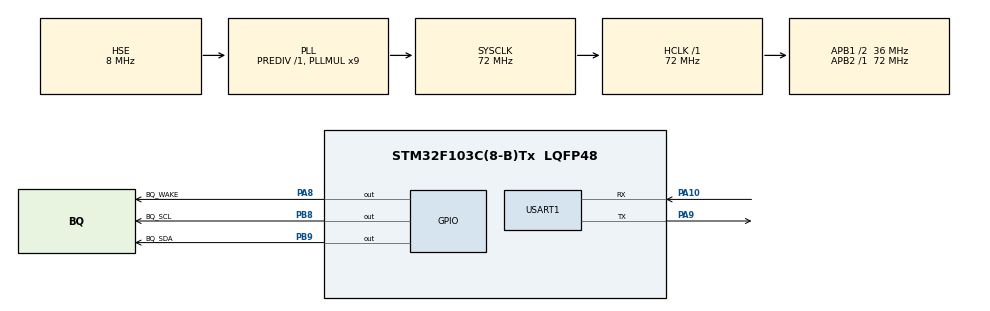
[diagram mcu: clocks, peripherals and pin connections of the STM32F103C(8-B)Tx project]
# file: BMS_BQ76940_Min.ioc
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Mcu.Family=STM32F1
Mcu.Name=STM32F103C(8-B)Tx
Mcu.Package=LQFP48
NVIC.PriorityGroup=NVIC_PRIORITYGROUP_4
PA10.Mode=Asynchronous
PA10.Signal=USART1_RX
PA13.Mode=Serial_Wire
PA13.Signal=SYS_JTMS-SWDIO
PA14.Mode=Serial_Wire
PA14.Signal=SYS_JTCK-SWCLK
PA8.GPIO_Label=BQ_WAKE
PA8.Signal=GPIO_Output
PA9.Mode=Asynchronous
PA9.Signal=USART1_TX
PB8.GPIO_Label=BQ_SCL
PB8.GPIO_ModeDefaultOutputPP=GPIO_MODE_OUTPUT_OD
PB8.GPIO_PuPd=GPIO_PULLUP
PB8.PinState=GPIO_PIN_SET
PB8.Signal=GPIO_Output
PB9.GPIO_Label=BQ_SDA
PB9.GPIO_ModeDefaultOutputPP=GPIO_MODE_OUTPUT_OD
PB9.GPIO_PuPd=GPIO_PULLUP
PB9.PinState=GPIO_PIN_SET
PB9.Signal=GPIO_Output
PD0-OSC_IN.Mode=HSE-External-Oscillator
PD0-OSC_IN.Signal=RCC_OSC_IN
PD1-OSC_OUT.Mode=HSE-External-Oscillator
PD1-OSC_OUT.Signal=RCC_OSC_OUT
ProjectManager.HeapSize=0x200
ProjectManager.StackSize=0x400
ProjectManager.TargetToolchain=MDK-ARM V5.32
RCC.AHBFreq_Value=72000000
RCC.APB1CLKDivider=RCC_HCLK_DIV2
RCC.APB1Freq_Value=36000000
RCC.APB1TimFreq_Value=72000000
RCC.APB2Freq_Value=72000000
RCC.APB2TimFreq_Value=72000000
RCC.HCLKFreq_Value=72000000
RCC.PLLMUL=RCC_PLL_MUL9
RCC.PLLSourceVirtual=RCC_PLLSOURCE_HSE
RCC.SYSCLKFreq_VALUE=72000000
RCC.SYSCLKSource=RCC_SYSCLKSOURCE_PLLCLK
RCC.USBFreq_Value=72000000
USART1.VirtualMode=VM_ASYNC
board=custom

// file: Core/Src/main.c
/* USER CODE BEGIN Header */
/**
  ******************************************************************************
  * @file           : main.c
  * @brief          : Main program body
  ******************************************************************************
  * @attention
  *
  * Copyright (c) 2026 STMicroelectronics.
  * All rights reserved.
  *
  * This software is licensed under terms that can be found in the LICENSE file
  * in the root directory of this software component.
  * If no LICENSE file comes with this software, it is provided AS-IS.
  *
  ******************************************************************************
  */
/* USER CODE END Header */
#include "main.h"
#include "usart.h"
#include "gpio.h"
#include <stdio.h>
#include <stdarg.h>

void SystemClock_Config(void);

/* USER CODE BEGIN 0 */

#define BQ76940_ADDR_7BIT  0x08U

static void BQ_DelayShort(void)
{
  for (volatile uint32_t i = 0; i < 120U; i++)
  {
    __NOP();
  }
}

static void UART1_Printf(const char *fmt, ...)
{
  char buffer[192];
  va_list args;
  int len;

  va_start(args, fmt);
  len = vsnprintf(buffer, sizeof(buffer), fmt, args);
  va_end(args);

  if (len <= 0)
  {
    return;
  }

  if (len > (int)sizeof(buffer))
  {
    len = (int)sizeof(buffer);
  }

  HAL_UART_Transmit(&huart1, (uint8_t *)buffer, (uint16_t)len, HAL_MAX_DELAY);
}

static void BQ_SCL_H(void)
{
  HAL_GPIO_WritePin(BQ_SCL_GPIO_Port, BQ_SCL_Pin, GPIO_PIN_SET);
}

static void BQ_SCL_L(void)
{
  HAL_GPIO_WritePin(BQ_SCL_GPIO_Port, BQ_SCL_Pin, GPIO_PIN_RESET);
}

static void BQ_SDA_H(void)
{
  HAL_GPIO_WritePin(BQ_SDA_GPIO_Port, BQ_SDA_Pin, GPIO_PIN_SET);
}

static void BQ_SDA_L(void)
{
  HAL_GPIO_WritePin(BQ_SDA_GPIO_Port, BQ_SDA_Pin, GPIO_PIN_RESET);
}

static GPIO_PinState BQ_SDA_Read(void)
{
  return HAL_GPIO_ReadPin(BQ_SDA_GPIO_Port, BQ_SDA_Pin);
}

static void BQ_I2C_ReleaseBus(void)
{
  BQ_SDA_H();
  BQ_SCL_H();
  BQ_DelayShort();
}

static HAL_StatusTypeDef BQ_I2C_Start(void)
{
  BQ_I2C_ReleaseBus();
  if (BQ_SDA_Read() == GPIO_PIN_RESET)
  {
    return HAL_ERROR;
  }

  BQ_SDA_L();
  BQ_DelayShort();
  BQ_SCL_L();
  BQ_DelayShort();
  return HAL_OK;
}

static void BQ_I2C_Stop(void)
{
  BQ_SCL_L();
  BQ_SDA_L();
  BQ_DelayShort();
  BQ_SCL_H();
  BQ_DelayShort();
  BQ_SDA_H();
  BQ_DelayShort();
}

static HAL_StatusTypeDef BQ_I2C_WriteBit(uint8_t bit)
{
  if (bit != 0U)
  {
    BQ_SDA_H();
  }
  else
  {
    BQ_SDA_L();
  }

  BQ_DelayShort();
  BQ_SCL_H();
  BQ_DelayShort();
  BQ_SCL_L();
  BQ_DelayShort();
  return HAL_OK;
}

static uint8_t BQ_I2C_ReadBit(void)
{
  uint8_t bit;

  BQ_SDA_H();
  BQ_DelayShort();
  BQ_SCL_H();
  BQ_DelayShort();
  bit = (BQ_SDA_Read() == GPIO_PIN_SET) ? 1U : 0U;
  BQ_SCL_L();
  BQ_DelayShort();
  return bit;
}

static HAL_StatusTypeDef BQ_I2C_WriteByte(uint8_t data)
{
  for (uint8_t i = 0; i < 8U; i++)
  {
    (void)BQ_I2C_WriteBit((data & 0x80U) != 0U);
    data <<= 1;
  }

  BQ_SDA_H();
  BQ_DelayShort();
  BQ_SCL_H();
  BQ_DelayShort();

  if (BQ_SDA_Read() == GPIO_PIN_SET)
  {
    BQ_SCL_L();
    return HAL_ERROR;
  }

  BQ_SCL_L();
  BQ_DelayShort();
  return HAL_OK;
}

static uint8_t BQ_I2C_ReadByte(uint8_t ack)
{
  uint8_t data = 0U;

  BQ_SDA_H();
  for (uint8_t i = 0; i < 8U; i++)
  {
    data <<= 1;
    BQ_SCL_H();
    BQ_DelayShort();
    if (BQ_SDA_Read() == GPIO_PIN_SET)
    {
      data |= 0x01U;
    }
    BQ_SCL_L();
    BQ_DelayShort();
  }

  if (ack != 0U)
  {
    BQ_SDA_L();
  }
  else
  {
    BQ_SDA_H();
  }

  BQ_DelayShort();
  BQ_SCL_H();
  BQ_DelayShort();
  BQ_SCL_L();
  BQ_SDA_H();
  return data;
}

static HAL_StatusTypeDef BQ_ReadReg(uint8_t reg, uint8_t *value)
{
  if ((value == NULL) || (BQ_I2C_Start() != HAL_OK))
  {
    BQ_I2C_Stop();
    return HAL_ERROR;
  }

  if (BQ_I2C_WriteByte((uint8_t)(BQ76940_ADDR_7BIT << 1)) != HAL_OK)
  {
    BQ_I2C_Stop();
    return HAL_ERROR;
  }

  if (BQ_I2C_WriteByte(reg) != HAL_OK)
  {
    BQ_I2C_Stop();
    return HAL_ERROR;
  }

  if (BQ_I2C_Start() != HAL_OK)
  {
    BQ_I2C_Stop();
    return HAL_ERROR;
  }

  if (BQ_I2C_WriteByte((uint8_t)((BQ76940_ADDR_7BIT << 1) | 0x01U)) != HAL_OK)
  {
    BQ_I2C_Stop();
    return HAL_ERROR;
  }

  *value = BQ_I2C_ReadByte(0U);
  BQ_I2C_Stop();
  return HAL_OK;
}

static void BQ_Wake(void)
{
  HAL_GPIO_WritePin(BQ_WAKE_GPIO_Port, BQ_WAKE_Pin, GPIO_PIN_SET);
  HAL_Delay(100);
  HAL_GPIO_WritePin(BQ_WAKE_GPIO_Port, BQ_WAKE_Pin, GPIO_PIN_RESET);
  HAL_Delay(100);
}

static void BQ_BringupAndPrint(void)
{
  uint8_t value;
  uint8_t adc_gain1 = 0U;
  uint8_t adc_offset = 0U;
  uint8_t adc_gain2 = 0U;

  UART1_Printf("\r\n=== BQ76940 bring-up ===\r\n");

  if (BQ_ReadReg(0x00U, &value) == HAL_OK)
  {
    UART1_Printf("SYS_STAT = 0x%02X\r\n", value);
  }
  else
  {
    UART1_Printf("SYS_STAT read fail\r\n");
  }

  if (BQ_ReadReg(0x50U, &adc_gain1) == HAL_OK &&
      BQ_ReadReg(0x51U, &adc_offset) == HAL_OK &&
      BQ_ReadReg(0x59U, &adc_gain2) == HAL_OK)
  {
    UART1_Printf("ADCGAIN1 = 0x%02X, ADCOFFSET = 0x%02X, ADCGAIN2 = 0x%02X\r\n",
                 adc_gain1, adc_offset, adc_gain2);
  }
  else
  {
    UART1_Printf("ADC gain/offset read fail\r\n");
  }

  for (uint8_t cell = 1U; cell <= 15U; cell++)
  {
    uint8_t reg_hi = (uint8_t)(0x0CU + (uint8_t)((cell - 1U) * 2U));
    uint8_t reg_lo = (uint8_t)(reg_hi + 1U);
    uint8_t hi = 0U;
    uint8_t lo = 0U;

    if (BQ_ReadReg(reg_hi, &hi) == HAL_OK && BQ_ReadReg(reg_lo, &lo) == HAL_OK)
    {
      uint16_t raw = (uint16_t)(((uint16_t)hi << 8) | lo);
      UART1_Printf("VC%u raw = 0x%04X (%u)\r\n", cell, raw, raw);
    }
    else
    {
      UART1_Printf("VC%u read fail\r\n", cell);
    }
  }
}

/* USER CODE END 0 */

int main(void)
{

  /* MCU Configuration--------------------------------------------------------*/

  /* Reset of all peripherals, Initializes the Flash interface and the Systick. */
  HAL_Init();

  /* Configure the system clock */
  SystemClock_Config();

  /* Initialize all configured peripherals */
  MX_GPIO_Init();
  MX_USART1_UART_Init();
  /* USER CODE BEGIN 2 */
  UART1_Printf("\r\nBMS_BQ76940_Min start\r\n");
  BQ_Wake();
  BQ_BringupAndPrint();

  /* USER CODE END 2 */

  /* Infinite loop */
  while (1)
  {

    /* USER CODE BEGIN 3 */
    HAL_Delay(1000);
    BQ_BringupAndPrint();
  }
  /* USER CODE END 3 */
}

void SystemClock_Config(void)
{
  RCC_OscInitTypeDef RCC_OscInitStruct = {0};
  RCC_ClkInitTypeDef RCC_ClkInitStruct = {0};

  /** Initializes the RCC Oscillators according to the specified parameters
  * in the RCC_OscInitTypeDef structure.
  */
  RCC_OscInitStruct.OscillatorType = RCC_OSCILLATORTYPE_HSE;
  RCC_OscInitStruct.HSEState = RCC_HSE_ON;
  RCC_OscInitStruct.HSEPredivValue = RCC_HSE_PREDIV_DIV1;
  RCC_OscInitStruct.HSIState = RCC_HSI_ON;
  RCC_OscInitStruct.PLL.PLLState = RCC_PLL_ON;
  RCC_OscInitStruct.PLL.PLLSource = RCC_PLLSOURCE_HSE;
  RCC_OscInitStruct.PLL.PLLMUL = RCC_PLL_MUL9;
  if (HAL_RCC_OscConfig(&RCC_OscInitStruct) != HAL_OK)
  {
    Error_Handler();
  }

  /** Initializes the CPU, AHB and APB buses clocks
  */
  RCC_ClkInitStruct.ClockType = RCC_CLOCKTYPE_HCLK|RCC_CLOCKTYPE_SYSCLK
                              |RCC_CLOCKTYPE_PCLK1|RCC_CLOCKTYPE_PCLK2;
  RCC_ClkInitStruct.SYSCLKSource = RCC_SYSCLKSOURCE_PLLCLK;
  RCC_ClkInitStruct.AHBCLKDivider = RCC_SYSCLK_DIV1;
  RCC_ClkInitStruct.APB1CLKDivider = RCC_HCLK_DIV2;
  RCC_ClkInitStruct.APB2CLKDivider = RCC_HCLK_DIV1;

  if (HAL_RCC_ClockConfig(&RCC_ClkInitStruct, FLASH_LATENCY_2) != HAL_OK)
  {
    Error_Handler();
  }
}

void Error_Handler(void)
{
  __disable_irq();
  while (1)
  {
  }
}
